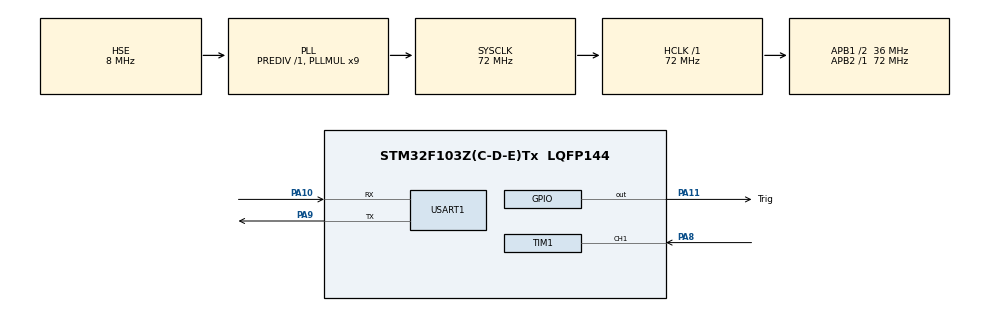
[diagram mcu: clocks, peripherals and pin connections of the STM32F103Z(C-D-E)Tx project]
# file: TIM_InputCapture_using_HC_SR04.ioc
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Mcu.Family=STM32F1
Mcu.Name=STM32F103Z(C-D-E)Tx
Mcu.Package=LQFP144
NVIC.PriorityGroup=NVIC_PRIORITYGROUP_4
NVIC.TIM1_CC_IRQn=true\:0\:0\:false\:false\:true\:true\:true\:true
NVIC.USART1_IRQn=true\:0\:0\:false\:false\:true\:true\:true\:true
OSC_IN.Mode=HSE-External-Oscillator
OSC_IN.Signal=RCC_OSC_IN
OSC_OUT.Mode=HSE-External-Oscillator
OSC_OUT.Signal=RCC_OSC_OUT
PA10.Mode=Asynchronous
PA10.Signal=USART1_RX
PA11.GPIO_Label=Trig
PA11.Signal=GPIO_Output
PA13.Mode=Serial_Wire
PA13.Signal=SYS_JTMS-SWDIO
PA14.Mode=Serial_Wire
PA14.Signal=SYS_JTCK-SWCLK
PA8.Signal=S_TIM1_CH1
PA9.Mode=Asynchronous
PA9.Signal=USART1_TX
ProjectManager.HeapSize=0x200
ProjectManager.StackSize=0x400
ProjectManager.TargetToolchain=CMake
RCC.AHBFreq_Value=72000000
RCC.APB1CLKDivider=RCC_HCLK_DIV2
RCC.APB1Freq_Value=36000000
RCC.APB1TimFreq_Value=72000000
RCC.APB2Freq_Value=72000000
RCC.APB2TimFreq_Value=72000000
RCC.HCLKFreq_Value=72000000
RCC.PLLMUL=RCC_PLL_MUL9
RCC.PLLSourceVirtual=RCC_PLLSOURCE_HSE
RCC.SYSCLKFreq_VALUE=72000000
RCC.SYSCLKSource=RCC_SYSCLKSOURCE_PLLCLK
RCC.USBFreq_Value=72000000
SH.S_TIM1_CH1.0=TIM1_CH1,Input_Capture1_from_TI1
TIM1.Channel-Input_Capture1_from_TI1=TIM_CHANNEL_1
TIM1.Channel-Input_Capture2_from_TI1_63=TIM_CHANNEL_2
TIM1.ICPolarity_CH2=TIM_INPUTCHANNELPOLARITY_FALLING
TIM1.Prescaler=72 - 1
USART1.VirtualMode=VM_ASYNC
VP_TIM1_VS_ClockSourceINT.Mode=Internal
VP_TIM1_VS_indirect_ch1.Mode=Input_Capture2_from_TI1_63
board=custom

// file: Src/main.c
/* USER CODE BEGIN Header */
/**
 ******************************************************************************
 * @file           : main.c
 * @brief          : Main program body
 ******************************************************************************
 * @attention
 *
 * Copyright (c) 2025 STMicroelectronics.
 * All rights reserved.
 *
 * This software is licensed under terms that can be found in the LICENSE file
 * in the root directory of this software component.
 * If no LICENSE file comes with this software, it is provided AS-IS.
 *
 ******************************************************************************
 */
/* USER CODE END Header */
#include "main.h"

#include "gpio.h"
#include "stm32f1xx_hal.h"
#include "tim.h"
#include "usart.h"

/* USER CODE BEGIN Includes */
#include <stdio.h>

/* USER CODE END Includes */

/* USER CODE BEGIN PV */
char msg[20];

extern float distance;

/* USER CODE END PV */

void SystemClock_Config(void);

/* USER CODE BEGIN 0 */
int __io_putchar(int ch) {
    HAL_UART_Transmit(&huart1, (uint8_t*) &ch, 1, 10);
    return ch;
}
/* USER CODE END 0 */

int main(void) {

    /* MCU Configuration--------------------------------------------------------*/

    /* Reset of all peripherals, Initializes the Flash interface and the Systick. */
    HAL_Init();

    /* Configure the system clock */
    SystemClock_Config();

    /* Initialize all configured peripherals */
    MX_GPIO_Init();
    MX_TIM1_Init();
    MX_USART1_UART_Init();
    /* USER CODE BEGIN 2 */
    HAL_TIM_Base_Start(&htim1);
    HAL_TIM_IC_Start(&htim1, TIM_CHANNEL_1); // 用于检测上升沿
    HAL_TIM_IC_Start_IT(&htim1, TIM_CHANNEL_2); // 开启输入捕获中断，用于检测下降沿
    /* USER CODE END 2 */

    /* Infinite loop */
    /* USER CODE BEGIN WHILE */
    while (1) {
        HAL_GPIO_WritePin(Trig_GPIO_Port, Trig_Pin, GPIO_PIN_SET);
        HAL_Delay(1);
        HAL_GPIO_WritePin(Trig_GPIO_Port, Trig_Pin, GPIO_PIN_RESET);

        // 为了避免捕获完上升沿之后遇见自动重装载，下降沿记录到一个比上升沿更小的数值，需要在触发测量之后，将计数器置零
        __HAL_TIM_SET_COUNTER(&htim1, 0);
        // 等待模块进行测量
        HAL_Delay(20);

        // sprintf(msg, "距离：%.2fcm\r\n", distance);
        // HAL_UART_Transmit_IT(&huart1, (uint8_t*) msg, sizeof(msg)); // 发送数据到串口

        printf("距离：%.2f cm\r\n", distance);

        HAL_Delay(500);
        /* USER CODE END WHILE */

    }
}

void SystemClock_Config(void) {
    RCC_OscInitTypeDef RCC_OscInitStruct = {0};
    RCC_ClkInitTypeDef RCC_ClkInitStruct = {0};

    /** Initializes the RCC Oscillators according to the specified parameters
     * in the RCC_OscInitTypeDef structure.
     */
    RCC_OscInitStruct.OscillatorType = RCC_OSCILLATORTYPE_HSE;
    RCC_OscInitStruct.HSEState = RCC_HSE_ON;
    RCC_OscInitStruct.HSEPredivValue = RCC_HSE_PREDIV_DIV1;
    RCC_OscInitStruct.HSIState = RCC_HSI_ON;
    RCC_OscInitStruct.PLL.PLLState = RCC_PLL_ON;
    RCC_OscInitStruct.PLL.PLLSource = RCC_PLLSOURCE_HSE;
    RCC_OscInitStruct.PLL.PLLMUL = RCC_PLL_MUL9;
    if (HAL_RCC_OscConfig(&RCC_OscInitStruct) != HAL_OK) {
        Error_Handler();
    }

    /** Initializes the CPU, AHB and APB buses clocks
     */
    RCC_ClkInitStruct.ClockType = RCC_CLOCKTYPE_HCLK | RCC_CLOCKTYPE_SYSCLK | RCC_CLOCKTYPE_PCLK1 | RCC_CLOCKTYPE_PCLK2;
    RCC_ClkInitStruct.SYSCLKSource = RCC_SYSCLKSOURCE_PLLCLK;
    RCC_ClkInitStruct.AHBCLKDivider = RCC_SYSCLK_DIV1;
    RCC_ClkInitStruct.APB1CLKDivider = RCC_HCLK_DIV2;
    RCC_ClkInitStruct.APB2CLKDivider = RCC_HCLK_DIV1;

    if (HAL_RCC_ClockConfig(&RCC_ClkInitStruct, FLASH_LATENCY_2) != HAL_OK) {
        Error_Handler();
    }
}

void Error_Handler(void) {
    __disable_irq();
    while (1) {}
}
